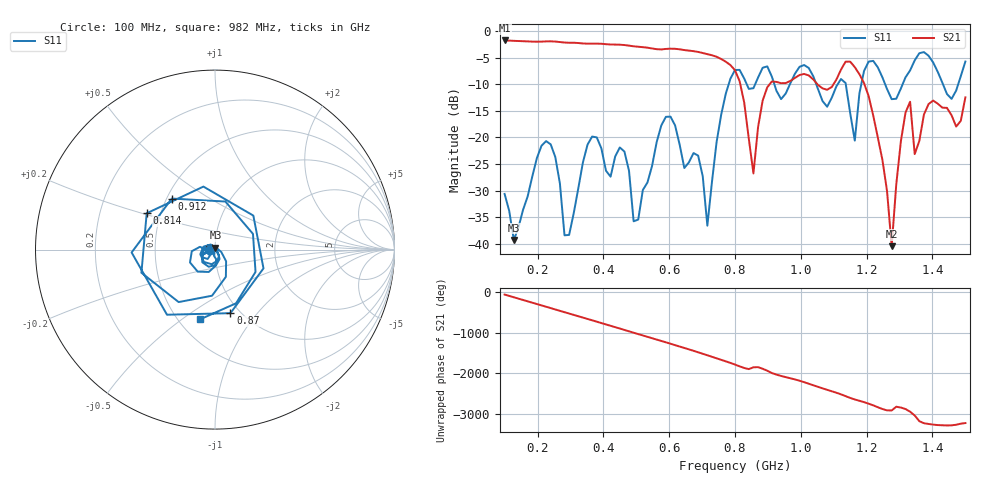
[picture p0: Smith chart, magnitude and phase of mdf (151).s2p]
! NanoVNA-App
! Date: 2025-09-26 09:40:54
! Start: 100MHz Stop: 1,5GHz Points: 101
! S-Parameter data: F S11 S21 S12 S22
# Hz S RI R 50
!  Frequency  S11_Real  S11_Imag  S21_Real  S21_Imag  S12_Real  S12_Imag  S22_Real  S22_Imag
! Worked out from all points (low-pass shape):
!   101 points, 100 MHz to 1.5 GHz, reference 50 ohm
!   highest |S21| = -1.79 dB at 100 MHz (marker M1); lowest = -40.4 dB at 1.276 GHz (marker M2)
!   |S21| within 3 dB of the highest: start of sweep to 740.8 MHz
!   lowest |S11| = -39.3 dB at 128 MHz (marker M3), VSWR 1.02, Z = 50.3 + j1.06 ohm
!   |S11| at or under -10 dB: start of sweep to 780.9 MHz; 1.047 GHz to 1.112 GHz (65.48 MHz wide, 6.07 % of centre); 1.256 GHz to 1.309 GHz (53.38 MHz wide, 4.16 % of centre)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
!   S12 and S22 are empty: the file has one direction only
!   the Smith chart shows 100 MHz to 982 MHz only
!   S11 on the Smith chart (normalised r, x): 100 MHz: 0.94, -0.01; 814 MHz: 0.42, +0.21; 870 MHz: 0.90, -0.74; 912 MHz: 0.53, +0.35; 982 MHz: 0.64, -0.59
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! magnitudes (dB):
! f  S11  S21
! 100 MHz  -30.6  -1.8
! 128 MHz  -39.3  -1.9
! 212 MHz  -21.6  -2.0
! 282 MHz  -38.4  -2.2
! 338 MHz  -24.7  -2.4
! 464 MHz  -22.7  -2.6
! 506 MHz  -35.4  -3.0
! 576 MHz  -17.8  -3.5
! 716 MHz  -36.6  -4.4
! 800 MHz  -7.3  -7.4
! 814 MHz  -7.3  -9.4
! 856 MHz  -10.8  -26.8
! 870 MHz  -8.8  -18.1
! 912 MHz  -8.6  -9.5
! 982 MHz  -8.0  -8.8
! 1.038 GHz  -8.5  -9.1
! 1.164 GHz  -20.6  -6.8
! 1.192 GHz  -7.5  -9.8
! 1.276 GHz  -12.8  -40.4
! 1.332 GHz  -7.4  -13.3
! 1.346 GHz  -5.5  -23.1
! 1.5 GHz  -5.7  -12.5
